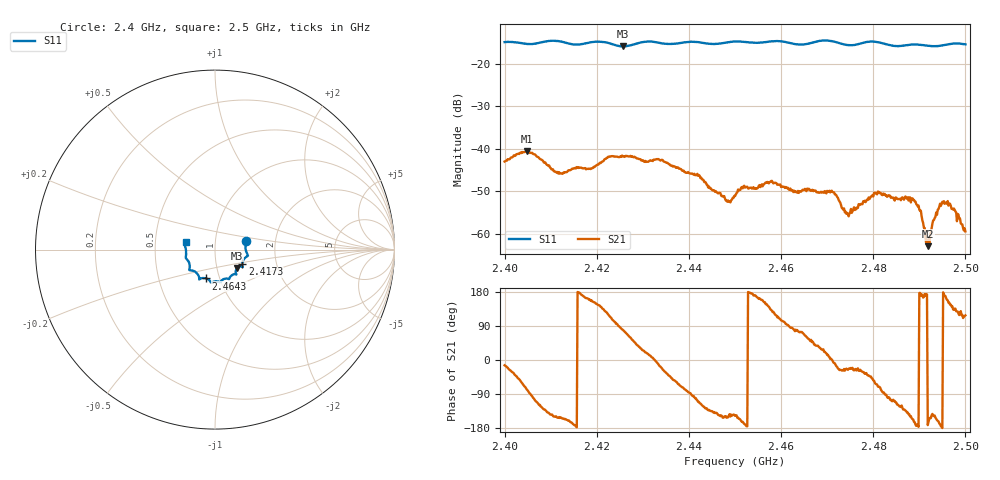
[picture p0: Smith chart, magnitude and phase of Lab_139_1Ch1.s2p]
# Hz S RI R 50
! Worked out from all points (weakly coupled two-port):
!   601 points, 2.4 GHz to 2.5 GHz, reference 50 ohm
!   highest |S21| = -40.66 dB at 2.4048 GHz (marker M1); lowest = -63.0 dB at 2.4918 GHz (marker M2)
!   lowest |S11| = -15.9 dB at 2.4257 GHz (marker M3), VSWR 1.38, Z = 62.5 - j13.1 ohm
!   |S11| at or under -10 dB: start of sweep to end of sweep
!   S12 and S22 are empty: the file has one direction only
!   S11 on the Smith chart (normalised r, x): 2.4 GHz: 1.41, +0.14; 2.4173 GHz: 1.34, -0.23; 2.4643 GHz: 0.86, -0.28; 2.5 GHz: 0.72, +0.06
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2.4e9  0.1731 0.0492  0.00684 -0.00171  0 0  0 0
2.404833e9  0.1704 0.016  0.0019 -0.00907  0 0  0 0
2.4115e9  0.182 -0.0357  -0.0047 -0.00246  0 0  0 0
2.416667e9  0.1528 -0.0747  -0.00591 0.000835  0 0  0 0
2.417333e9  0.152 -0.0822  -0.0057 0.0014  0 0  0 0
2.425667e9  0.123 -0.1023  0.00147 0.00798  0 0  0 0
2.433333e9  0.1127 -0.137  0.00742 -0.00137  0 0  0 0
2.442167e9  0.0739 -0.1634  -0.00172 -0.00458  0 0  0 0
2.4485e9  0.0337 -0.176  -0.00215 -0.00117  0 0  0 0
2.45e9  0.0294 -0.1809  -0.00233 -0.00149  0 0  0 0
2.4575e9  -0.0163 -0.1819  -0.00297 0.0027  0 0  0 0
2.464333e9  -0.0498 -0.1606  0.000878 0.00299  0 0  0 0
2.466667e9  -0.0758 -0.1597  0.0022 0.0024  0 0  0 0
2.471333e9  -0.0874 -0.1613  0.00304 -0.000333  0 0  0 0
2.474333e9  -0.1002 -0.1326  0.0016 -0.000712  0 0  0 0
2.480667e9  -0.1429 -0.1111  0.00129 -0.00263  0 0  0 0
2.483333e9  -0.1408 -0.0898  -0.000404 -0.0028  0 0  0 0
2.489e9  -0.1625 -0.046  -0.0023 -0.000654  0 0  0 0
2.491833e9  -0.1611 -0.0269  -0.000702 -0.000101  0 0  0 0
2.494e9  -0.1616 -0.00186  -0.0018 -0.000635  0 0  0 0
2.495333e9  -0.1653 0.0129  -0.00238 0.000321  0 0  0 0
2.5e9  -0.1639 0.0422  -0.000492 0.000938  0 0  0 0
